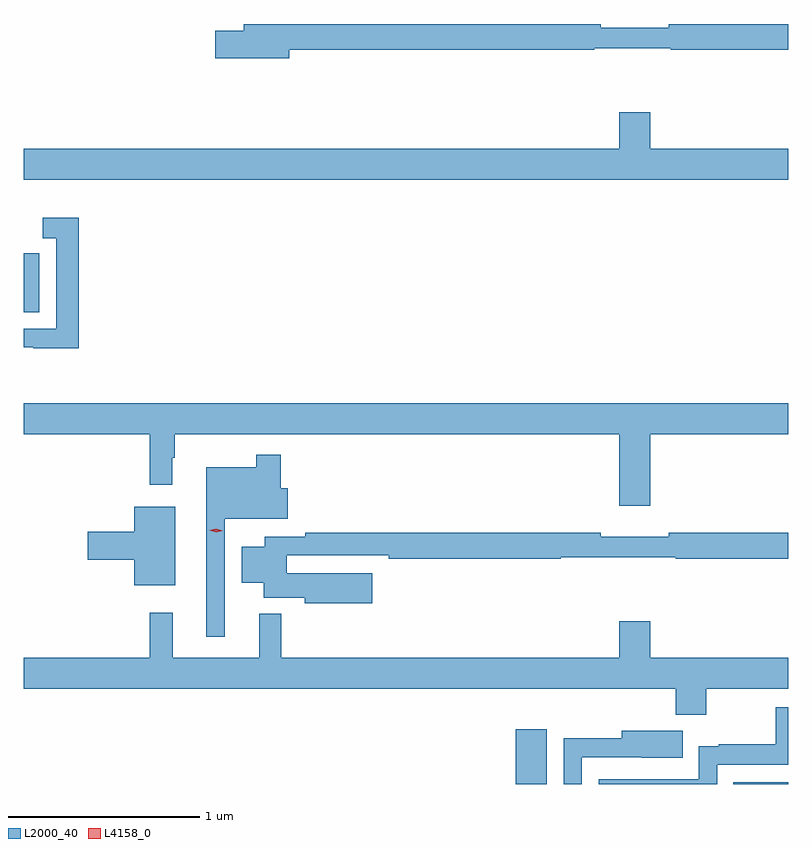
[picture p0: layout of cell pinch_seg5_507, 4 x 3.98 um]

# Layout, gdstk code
import gdstk
lib = gdstk.Library(unit=1e-6, precision=1e-09)
def R(c, l, rs):  # rectangles x0, y0, x1, y1
    for r in rs: c.add(gdstk.rectangle(r[:2], r[2:], *l))
def P(c, l, *ps):  # polygons
    for p in ps: c.add(gdstk.Polygon(p, *l))
L2000_40 = (2000, 40)
L4158_0 = (4158, 0)

pinch_seg5_507 = lib.new_cell('pinch_seg5_507')
R(pinch_seg5_507, L2000_40, [(919.712,837.614,919.873,837.901), (920.851,837.614,921.137,837.624), (917.137,840.084,917.218,840.391)])
P(pinch_seg5_507, L2000_40, [(918.526,841.456),(920.123,841.456),(920.123,841.464),(920.524,841.464),(920.524,841.456),(921.137,841.456),(921.137,841.592),(920.512,841.592),(920.512,841.573),(920.156,841.573),(920.156,841.592),(918.287,841.592),(918.287,841.556),(918.138,841.556),(918.138,841.414),(918.526,841.414)],
  [(921.137,840.94),(920.416,840.94),(920.416,841.129),(920.252,841.129),(920.252,840.94),(917.137,840.94),(917.137,840.776),(921.137,840.776)],
  [(917.423,840.577),(917.235,840.577),(917.235,840.471),(917.307,840.471),(917.307,839.997),(917.137,839.997),(917.137,839.901),(917.185,839.901),(917.185,839.896),(917.423,839.896)],
  [(920.416,839.444),(921.137,839.444),(921.137,839.608),(917.137,839.608),(917.137,839.444),(917.797,839.444),(917.797,839.181),(917.914,839.181),(917.914,839.321),(917.926,839.321),(917.926,839.444),(920.252,839.444),(920.252,839.07),(920.416,839.07)],
  [(918.189,839.003),(918.517,839.003),(918.517,839.161),(918.482,839.161),(918.482,839.338),(918.354,839.338),(918.354,839.272),(918.092,839.272),(918.092,838.386),(918.189,838.386)],
  [(917.929,839.065),(917.714,839.065),(917.714,838.934),(917.472,838.934),(917.472,838.787),(917.714,838.787),(917.714,838.655),(917.929,838.655)],
  [(918.961,838.717),(918.514,838.717),(918.514,838.812),(919.048,838.812),(919.048,838.792),(919.948,838.792),(919.948,838.8),(920.548,838.8),(920.548,838.792),(921.137,838.792),(921.137,838.928),(920.512,838.928),(920.512,838.909),(920.156,838.909),(920.156,838.928),(918.61,838.928),(918.61,838.908),(918.398,838.908),(918.398,838.855),(918.278,838.855),(918.278,838.667),(918.392,838.667),(918.392,838.589),(918.608,838.589),(918.608,838.559),(918.961,838.559)],
  [(920.709,838.112),(921.137,838.112),(921.137,838.276),(920.416,838.276),(920.416,838.465),(920.252,838.465),(920.252,838.276),(918.485,838.276),(918.485,838.504),(918.368,838.504),(918.368,838.276),(917.915,838.276),(917.915,838.51),(917.797,838.51),(917.797,838.276),(917.137,838.276),(917.137,838.112),(920.549,838.112),(920.549,837.977),(920.709,837.977)],
  [(920.766,837.714),(921.137,837.714),(921.137,838.017),(921.072,838.017),(921.072,837.823),(920.773,837.823),(920.773,837.811),(920.67,837.811),(920.67,837.639),(920.145,837.639),(920.145,837.614),(920.766,837.614)],
  [(920.058,837.753),(920.371,837.753),(920.371,837.752),(920.585,837.752),(920.585,837.892),(920.267,837.892),(920.267,837.854),(919.962,837.854),(919.962,837.614),(920.058,837.614)])
P(pinch_seg5_507, L4158_0, [(918.143,838.931),(918.108,838.942),(918.108,838.942),(918.108,838.942),(918.144,838.951),(918.178,838.939),(918.179,838.939),(918.178,838.939)])

lib.write_gds('pinch_seg5_507.gds')
